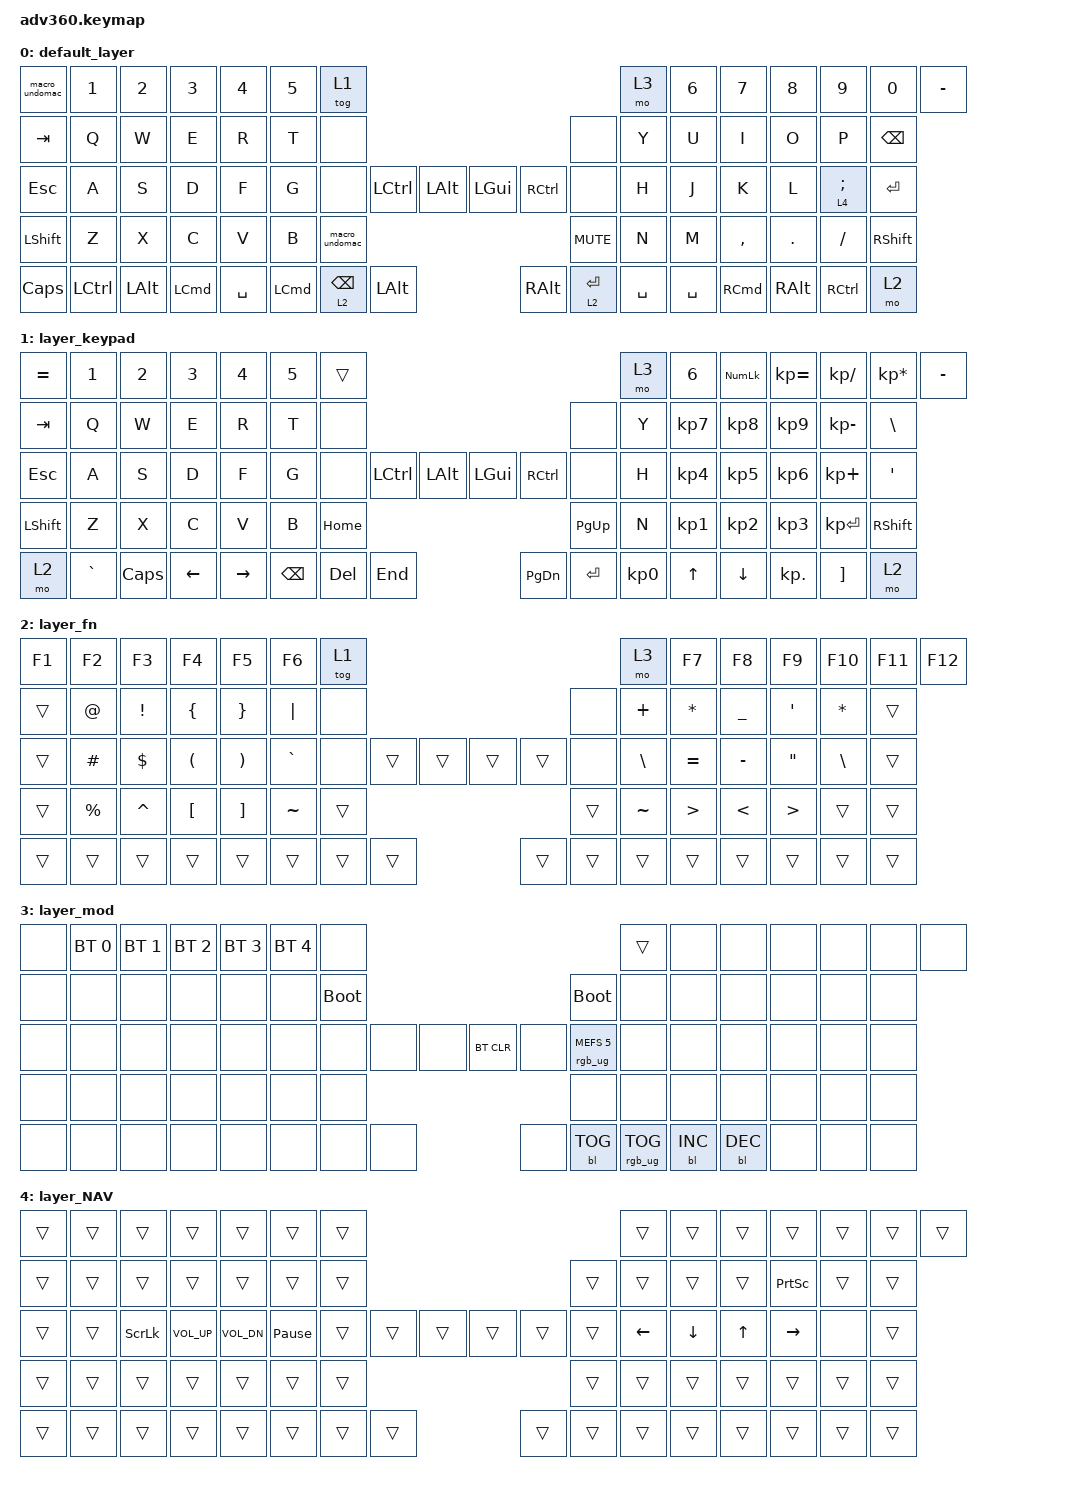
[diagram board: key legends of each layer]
#include <behaviors.dtsi>
#include <dt-bindings/zmk/keys.h>
#include <dt-bindings/zmk/bt.h>
#include <dt-bindings/zmk/rgb.h>
#include <dt-bindings/zmk/backlight.h>

/ {
    behaviors {
      #include "macros.dtsi"
      #include "version.dtsi"
      #ifndef VERSION_MACRO
      macro_ver: macro_ver {
        compatible = "zmk,behavior-macro";
        label = "macro_version";
        #binding-cells = <0>;
        bindings = <&kp RET>;
      };
      #endif

    hm: homerow_mods {
        compatible = "zmk,behavior-hold-tap";
        label = "HOMEROW_MODS";
        #binding-cells = <2>;
        tapping-term-ms = <200>;
        quick_tap_ms = <175>;
        flavor = "tap-preferred";
        bindings = <&kp>, <&kp>;
    };
  };

    keymap {
        compatible = "zmk,keymap";


        default_layer {
            bindings = <
 &macro_undomac     &kp N1    &kp N2            &kp N3     &kp N4  &kp N5                      &tog 1                                                                                   &mo 3  &kp N6     &kp N7             &kp N8         &kp N9           &kp N0      &kp MINUS
        &kp TAB      &kp Q     &kp W             &kp E      &kp R   &kp T                       &none                                                                                   &none   &kp Y      &kp U              &kp I          &kp O            &kp P  &kp BACKSPACE
        &kp ESC      &kp A     &kp S             &kp D      &kp F   &kp G                       &none        &kp LCTRL        &kp LALT                       &kp LGUI    &kp RCTRL      &none   &kp H      &kp J              &kp K          &kp L  &lt 4 SEMICOLON      &kp ENTER
      &kp LSHFT      &kp Z     &kp X             &kp C      &kp V   &kp B                                               &macro_undomac                     &kp C_MUTE                           &kp N      &kp M          &kp COMMA        &kp DOT        &kp SLASH      &kp RSHFT
       &kp CAPS  &kp LCTRL  &kp LALT  &kp LEFT_COMMAND  &kp SPACE                    &kp LEFT_COMMAND  &lt 2 BACKSPACE        &kp LALT                  &kp RIGHT_ALT  &lt 2 ENTER  &kp SPACE          &kp SPACE  &kp RIGHT_COMMAND  &kp RIGHT_ALT        &kp RCTRL          &mo 2
            >;
        };

        layer_keypad {
            bindings = <
 &kp EQUAL     &kp N1    &kp N2    &kp N3     &kp N4  &kp N5              &trans                                                                 &mo 3  &kp N6  &kp KP_NUM  &kp KP_EQUAL  &kp KP_DIVIDE  &kp KP_MULTIPLY  &kp MINUS
   &kp TAB      &kp Q     &kp W     &kp E      &kp R   &kp T               &none                                                                 &none   &kp Y   &kp KP_N7     &kp KP_N8      &kp KP_N9     &kp KP_MINUS   &kp BSLH
   &kp ESC      &kp A     &kp S     &kp D      &kp F   &kp G               &none  &kp LCTRL  &kp LALT                   &kp LGUI  &kp RCTRL      &none   &kp H   &kp KP_N4     &kp KP_N5      &kp KP_N6      &kp KP_PLUS    &kp SQT
 &kp LSHFT      &kp Z     &kp X     &kp C      &kp V   &kp B                                 &kp HOME                  &kp PG_UP                         &kp N   &kp KP_N1     &kp KP_N2      &kp KP_N3     &kp KP_ENTER  &kp RSHFT
     &mo 2  &kp GRAVE  &kp CAPS  &kp LEFT  &kp RIGHT                    &kp BSPC    &kp DEL   &kp END                  &kp PG_DN  &kp ENTER  &kp KP_N0              &kp UP      &kp DOWN     &kp KP_DOT         &kp RBKT      &mo 2
            >;
        };

        layer_fn {
            bindings = <
 &kp F1       &kp F2      &kp F3                &kp F4                 &kp F5     &kp F6            &tog 1                                                   &mo 3         &kp F7            &kp F8          &kp F9            &kp F10        &kp F11  &kp F12
 &trans       &kp AT    &kp EXCL        &kp LEFT_BRACE        &kp RIGHT_BRACE   &kp PIPE             &none                                                   &none       &kp PLUS      &kp ASTERISK  &kp UNDERSCORE   &kp SINGLE_QUOTE       &kp STAR   &trans
 &trans     &kp HASH  &kp DOLLAR  &kp LEFT_PARENTHESIS  &kp RIGHT_PARENTHESIS  &kp GRAVE             &none  &trans  &trans                  &trans  &trans   &none  &kp BACKSLASH         &kp EQUAL       &kp MINUS  &kp DOUBLE_QUOTES  &kp BACKSLASH   &trans
 &trans  &kp PERCENT   &kp CARET      &kp LEFT_BRACKET      &kp RIGHT_BRACKET  &kp TILDE                            &trans                  &trans                      &kp TILDE  &kp GREATER_THAN   &kp LESS_THAN   &kp GREATER_THAN         &trans   &trans
 &trans       &trans      &trans                &trans                 &trans                       &trans  &trans  &trans                  &trans  &trans  &trans                           &trans          &trans             &trans         &trans   &trans
            >;
        };

        layer_mod {
            bindings = <
  &none  &bt BT_SEL 0  &bt BT_SEL 1  &bt BT_SEL 2  &bt BT_SEL 3  &bt BT_SEL 4                  &none                                                                          &trans   &none       &none       &none   &none   &none   &none
  &none         &none         &none         &none         &none         &none            &bootloader                                                                     &bootloader   &none       &none       &none   &none   &none   &none
  &none         &none         &none         &none         &none         &none                  &none   &none   &none                  &bt BT_CLR       &none  &rgb_ug RGB_MEFS_CMD 5   &none       &none       &none   &none   &none   &none
  &none         &none         &none         &none         &none         &none                                  &none                       &none                                       &none       &none       &none   &none   &none   &none
  &none         &none         &none         &none         &none                                &none   &none   &none                       &none  &bl BL_TOG         &rgb_ug RGB_TOG          &bl BL_INC  &bl BL_DEC   &none   &none   &none
            >;
        };

        layer_NAV {
            bindings = <
 &trans  &trans    &trans           &trans        &trans           &trans            &trans                                                  &trans          &trans          &trans        &trans           &trans  &trans  &trans
 &trans  &trans    &trans           &trans        &trans           &trans            &trans                                                  &trans          &trans          &trans        &trans  &kp PRINTSCREEN  &trans  &trans
 &trans  &trans  &kp SLCK  &kp C_VOLUME_UP  &kp C_VOL_DN  &kp PAUSE_BREAK            &trans  &trans  &trans                  &trans  &trans  &trans  &kp LEFT_ARROW  &kp DOWN_ARROW  &kp UP_ARROW  &kp RIGHT_ARROW   &none  &trans
 &trans  &trans    &trans           &trans        &trans           &trans                            &trans                  &trans                          &trans          &trans        &trans           &trans  &trans  &trans
 &trans  &trans    &trans           &trans        &trans                             &trans  &trans  &trans                  &trans  &trans  &trans                          &trans        &trans           &trans  &trans  &trans
            >;
        };

    };
};
